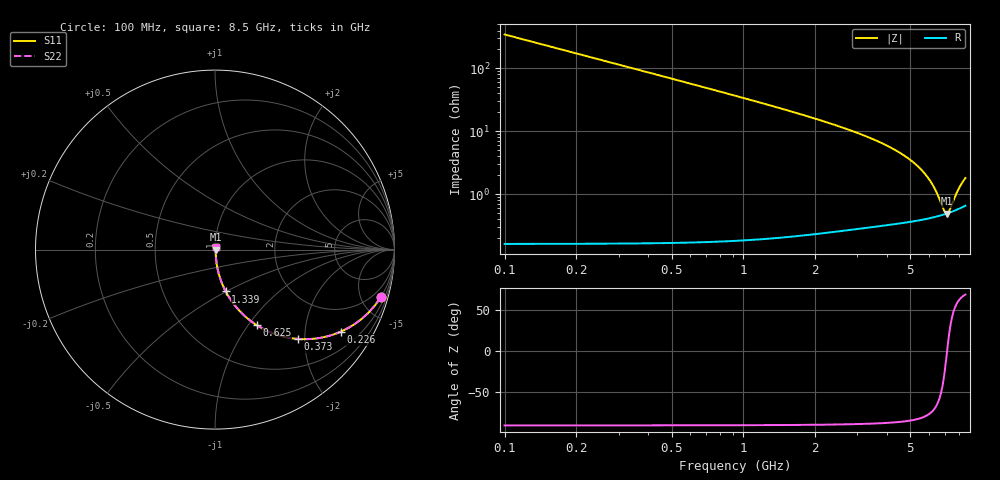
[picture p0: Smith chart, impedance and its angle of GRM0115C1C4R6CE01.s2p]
!Murata Part Number: GRM0115C1C4R6CE01
!These Parameters are Measured in Series Mode Connection
!Data Generated on Mar 30, 2021
!  o--ll--o
!Port1  Port2
!  o------o
!Operation Temp=25[degC], DC Bias Voltage=0[V]
!Freq. Start=100[MHz] Stop=9[GHz] 401[Steps]
# Hz S RI R 50
!Freq.(Hz) S11(Real) S11(Imag) S21(Real) S21(Imag) S12(Real) S12(Imag) S22(Real) S22(Imag)
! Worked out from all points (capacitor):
!   401 points, 100 MHz to 8.5 GHz, reference 50 ohm
!   read as one part in series: C = 4.6 pF near 142 MHz
!   lowest |Z| = 494 mohm at 7.093 GHz (marker M1)
!   series resonance near 7.123 GHz, so ESL is about 110 pH
!   S11 on the Smith chart (normalised r, x): 100 MHz: 1.00, -6.92; 226 MHz: 1.00, -3.06; 373 MHz: 1.00, -1.85; 625 MHz: 1.00, -1.10; 1.339 GHz: 1.00, -0.50; 8.5 GHz: 1.01, +0.03
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1e8  0.9228 -0.2667  0.0772 0.2667  0.0772 0.2667  0.9228 -0.2667
1.42e8  0.8556 -0.3512  0.1444 0.3512  0.1444 0.3512  0.8556 -0.3512
2.26e8  0.7003 -0.4576  0.2997 0.4576  0.2997 0.4576  0.7003 -0.4576
2.89e8  0.5881 -0.4915  0.4119 0.4915  0.4119 0.4915  0.5881 -0.4915
3.73e8  0.4611 -0.4976  0.5389 0.4976  0.5389 0.4976  0.4611 -0.4976
4.99e8  0.3228 -0.4663  0.6772 0.4663  0.6772 0.4663  0.3228 -0.4663
6.25e8  0.2323 -0.4208  0.7677 0.4208  0.7677 0.4208  0.2323 -0.4208
9.19e8  0.1215 -0.3243  0.8785 0.3243  0.8785 0.3243  0.1215 -0.3243
1.339e9  0.0599 -0.2334  0.9401 0.2334  0.9401 0.2334  0.0599 -0.2334
1.507e9  0.0475 -0.2079  0.9525 0.2079  0.9525 0.2079  0.0475 -0.2079
2.116e9  0.0238 -0.1446  0.9762 0.1446  0.9762 0.1446  0.0238 -0.1446
2.914e9  0.0123 -0.0969  0.9877 0.0969  0.9877 0.0969  0.0123 -0.0969
4.3e9  0.00589 -0.0504  0.9941 0.0504  0.9941 0.0504  0.00589 -0.0504
5.098e9  0.00474 -0.0326  0.9953 0.0326  0.9953 0.0326  0.00474 -0.0326
5.707e9  0.00443 -0.0214  0.9956 0.0214  0.9956 0.0214  0.00443 -0.0214
6.232e9  0.00443 -0.0128  0.9956 0.0128  0.9956 0.0128  0.00443 -0.0128
6.904e9  0.00475 -0.00298  0.9953 0.00298  0.9953 0.00298  0.00475 -0.00298
7.093e9  0.0049 -0.000404  0.9951 0.000404  0.9951 0.000404  0.0049 -0.000404
7.114e9  0.00492 -0.000122  0.9951 0.000122  0.9951 0.000122  0.00492 -0.000122
7.282e9  0.00507 0.0021  0.9949 -0.0021  0.9949 -0.0021  0.00507 0.0021
7.933e9  0.00588 0.0102  0.9941 -0.0102  0.9941 -0.0102  0.00588 0.0102
8.5e9  0.00681 0.0166  0.9932 -0.0166  0.9932 -0.0166  0.00681 0.0166
